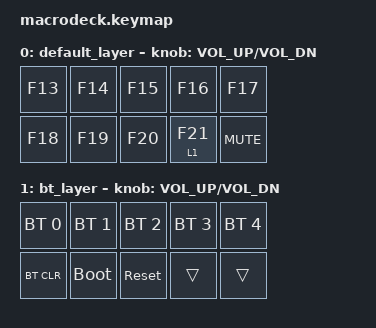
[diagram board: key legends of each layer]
#include <behaviors.dtsi>
#include <dt-bindings/zmk/keys.h>
#include <dt-bindings/zmk/bt.h>

/ {
    keymap {
        compatible = "zmk,keymap";

        default_layer {
            bindings = <
                &kp F13  &kp F14  &kp F15  &kp F16  &kp F17
                &kp F18  &kp F19  &kp F20  &lt 1 F21  &kp C_MUTE
            >;
            sensor-bindings = <&inc_dec_kp C_VOL_UP C_VOL_DN>;
        };

        bt_layer {
            bindings = <
                &bt BT_SEL 0  &bt BT_SEL 1  &bt BT_SEL 2  &bt BT_SEL 3  &bt BT_SEL 4
                &bt BT_CLR    &bootloader   &sys_reset    &trans        &trans
            >;
            sensor-bindings = <&inc_dec_kp C_VOL_UP C_VOL_DN>;
        };
    };
};
